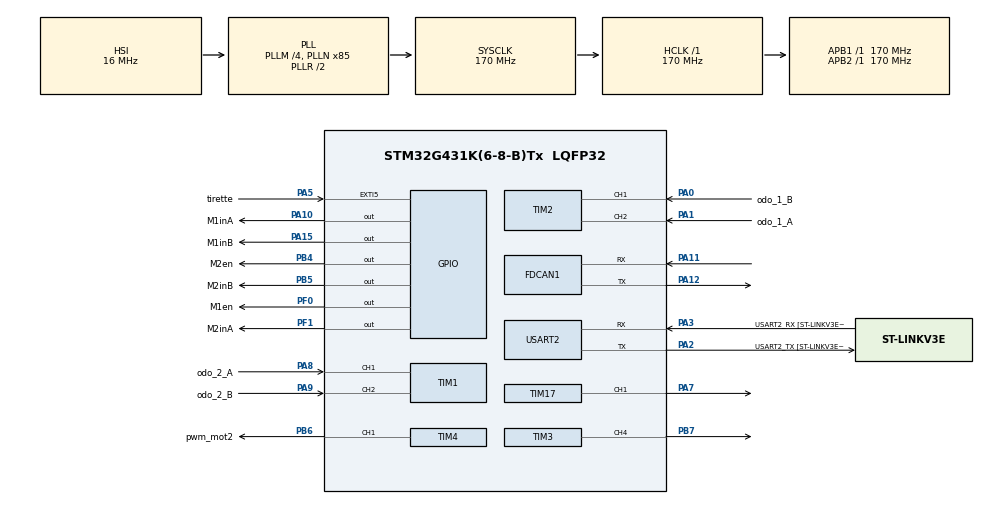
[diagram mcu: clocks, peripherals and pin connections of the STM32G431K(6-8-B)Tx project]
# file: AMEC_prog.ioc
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FDCAN1.CalculateBaudRateNominal=1000000
FDCAN1.CalculateTimeBitNominal=1000
FDCAN1.CalculateTimeQuantumNominal=100.0
FDCAN1.NominalPrescaler=17
FDCAN1.NominalTimeSeg1=7
FDCAN1.NominalTimeSeg2=2
Mcu.Family=STM32G4
Mcu.Name=STM32G431K(6-8-B)Tx
Mcu.Package=LQFP32
NVIC.FDCAN1_IT0_IRQn=true\:0\:0\:false\:false\:true\:true\:true\:true
NVIC.PriorityGroup=NVIC_PRIORITYGROUP_4
NVIC.TIM7_IRQn=true\:0\:0\:false\:false\:true\:true\:true\:true
PA0.GPIO_Label=odo_1_B
PA0.Signal=S_TIM2_CH1
PA1.GPIO_Label=odo_1_A
PA1.Signal=S_TIM2_CH2
PA10.GPIO_Label=M1inA
PA10.Signal=GPIO_Output
PA11.Mode=FDCAN_Activate
PA11.Signal=FDCAN1_RX
PA12.Mode=FDCAN_Activate
PA12.Signal=FDCAN1_TX
PA15.GPIO_Label=M1inB
PA15.Signal=GPIO_Output
PA2.GPIO_Label=USART2_TX [ST-LINKV3E_VCP_RX]
PA2.Mode=Asynchronous
PA2.Signal=USART2_TX
PA3.GPIO_Label=USART2_RX [ST-LINKV3E_VCP_TX]
PA3.Mode=Asynchronous
PA3.Signal=USART2_RX
PA5.GPIO_Label=tirette
PA5.GPIO_ModeDefaultEXTI=GPIO_MODE_IT_RISING_FALLING
PA5.GPIO_PuPd=GPIO_NOPULL
PA5.Signal=GPXTI5
PA7.Signal=S_TIM17_CH1
PA8.GPIO_Label=odo_2_A
PA8.Signal=S_TIM1_CH1
PA9.GPIO_Label=odo_2_B
PA9.Signal=S_TIM1_CH2
PB4.GPIO_Label=M2en
PB4.Signal=GPIO_Output
PB5.GPIO_Label=M2inB
PB5.Signal=GPIO_Output
PB6.GPIO_Label=pwm_mot2
PB6.Signal=S_TIM4_CH1
PB7.Signal=S_TIM3_CH4
PF0-OSC_IN.GPIO_Label=M1en
PF0-OSC_IN.PinState=GPIO_PIN_RESET
PF0-OSC_IN.Signal=GPIO_Output
PF1-OSC_OUT.GPIO_Label=M2inA
PF1-OSC_OUT.Signal=GPIO_Output
ProjectManager.HeapSize=0x200
ProjectManager.StackSize=0x400
ProjectManager.TargetToolchain=STM32CubeIDE
RCC.ADC12Freq_Value=170000000
RCC.AHBFreq_Value=170000000
RCC.APB1Freq_Value=170000000
RCC.APB1TimFreq_Value=170000000
RCC.APB2Freq_Value=170000000
RCC.APB2TimFreq_Value=170000000
RCC.CortexFreq_Value=170000000
RCC.EXTERNAL_CLOCK_VALUE=12288000
RCC.HCLKFreq_Value=170000000
RCC.HSE_VALUE=8000000
RCC.HSI48_VALUE=48000000
RCC.HSI_VALUE=16000000
RCC.LSE_VALUE=32768
RCC.PLLM=RCC_PLLM_DIV4
RCC.PLLN=85
RCC.SYSCLKFreq_VALUE=170000000
RCC.SYSCLKSource=RCC_SYSCLKSOURCE_PLLCLK
RCC.USBFreq_Value=170000000
RCC.VCOOutputFreq_Value=340000000
SH.S_TIM17_CH1.0=TIM17_CH1,PWM Generation1 CH1
SH.S_TIM1_CH1.0=TIM1_CH1,Encoder_Interface
SH.S_TIM1_CH2.0=TIM1_CH2,Encoder_Interface
SH.S_TIM2_CH1.0=TIM2_CH1,Encoder_Interface
SH.S_TIM2_CH2.0=TIM2_CH2,Encoder_Interface
SH.S_TIM3_CH4.0=TIM3_CH4,PWM Generation4 CH4
SH.S_TIM4_CH1.0=TIM4_CH1,PWM Generation1 CH1
TIM17.Channel=TIM_CHANNEL_1
TIM17.PeriodNoDither=65000
TIM17.Prescaler=51
TIM3.Channel-PWM\ Generation4\ CH4=TIM_CHANNEL_4
TIM3.PeriodNoDither=8500
TIM4.Channel-PWM\ Generation1\ CH1=TIM_CHANNEL_1
TIM4.PeriodNoDither=8500
TIM7.PeriodNoDither=10000-1
TIM7.Prescaler=170-1
TIM8.PeriodNoDither=1999
TIM8.Prescaler=169
USART2.VirtualMode-Asynchronous=VM_ASYNC
VP_SYS_VS_DBSignals.Mode=DisableDeadBatterySignals
VP_TIM17_VS_ClockSourceINT.Mode=Enable_Timer
VP_TIM3_VS_ClockSourceINT.Mode=Internal
VP_TIM4_VS_ClockSourceINT.Mode=Internal
VP_TIM7_VS_ClockSourceINT.Mode=Enable_Timer
VP_TIM8_VS_ClockSourceINT.Mode=Internal
board=NUCLEO-G431KB

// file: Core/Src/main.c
/* USER CODE BEGIN Header */
/*

 ******************************************************************************
 * Vertion Ultime N°2 \\\ WJFUTL ///
 *
 * -> CAN semi non fonctionnel
 * -> X & Y non fonctionnel
 *
 * -> vitesse progressive --- V3
 * -> MS : Master System --- V5
 * -> communication CAN --- V3
 * -> tructure AUTO --- V8
 * -> communication USART --- V2
 *
 * -> \\\ vertion global : N°12 ///
 ******************************************************************************
 */
/* USER CODE END Header */
#include "main.h"
#include "fdcan.h"
#include "tim.h"
#include "usart.h"
#include "gpio.h"

/* USER CODE BEGIN Includes */
#include <stdio.h>
#include "stdbool.h"      // obligatoire pour utiliser le type "bool"
#include "math.h"         // obligatoire pour utiliser "M_PI" "abs" "fabs"
/* USER CODE END Includes */

/* USER CODE BEGIN PTD */
typedef struct {
	float dist_roue_droite_mm;
	float dist_roue_gauche_mm;
	float distance_mm;
	float angle_rad;
	float x;
	float y;
} statut_odometrie_t;

typedef enum {
	STATE_stop, STATE_acc, STATE_dec, STATE_const, STATE_arriver
} StateType;
StateType currentState = STATE_stop;
/* USER CODE END PTD */

/* USER CODE BEGIN PD */
#define PERIMETRE_ROUE_MM (53*M_PI)                                   // modifier le 51.78 = diametre si nouvelle roues
#define TICK_PAR_TOUR 2048                                               // l'encodeur s'incrémente 2000 fois par tour
#define DIAMETRE_ENTRE_LES_ROUES 0.234                                   //en mm
#define PERIMETRE_CERCLE_ENTRE_LES_ROUES (DIAMETRE_ENTRE_LES_ROUES*M_PI) // perimetre en mm
#define TE 0.01                                                          // en s
#define COEF_ROUE_GAUCHE 0.980
#define ECART_ROUE_MM 230//11.25
// en ... jsp

volatile statut_odometrie_t statut_odometrie = { 0 }, precedent_statut = { .x = 155, .y = 155};

uint16_t tick_d_precedent = 32768;   // ou 32 440
uint16_t tick_g_precedent = 32768;

//********************************************
float acceleration = 1;
float deceleration = 1;
//********************************************

//********************************************
float vitesse = 0.0;    // en m/s
//********************************************

float erreur_droite = 0;
float erreur_gauche = 0;

uint32_t n_DEC = 0;
uint32_t n_ACC = 0;
uint32_t n_CONST = 0;

int32_t tick_g = 0;
int32_t tick_d = 0;

float NA = 0.0;
float ND = 0.0;
float NC = 0.0;

bool triangle = 0;

float erreur_precedante_droite = 0.0;
float erreur_precedante_gauche = 0.0;

float Delta_droite = 0.0;
float Delta_gauche = 0.0;

//********************************************
//110 -> val OK
//750 -> val OK
float coef_P_d = 110;
float coef_D_d = 750;
float coef_P_g = 110;
float coef_D_g = 750;
//********************************************

bool mouvement_rotation = 0;
bool mouvement_reculer = 0;
bool rotation = 0;

float coef_droit = 1.009;
float coef_gauche = 1.009;

int AV = 0;

bool tirette = true;

float floatValue_dist = 0.0;
int16_t uintValue_dist = 0;
float floatValue_angle = 0.0;
int16_t uintValue_angle = 0;

int envoi_fin_auto = 0;
bool tirette_precedente = 0;

float X_actuel = 0.0;
float Y_actuel = 0.0;
float Teta_actuel = 0.0;
float X_debut_m = 0.0;
float Y_debut_m = 0.0;
float Teta_debut_m = 0.0;

float dist_debut_mouvement = 0.0;

int16_t X_actuel_int = 0;
int16_t Y_actuel_int = 0;
int16_t Teta_actuel_int = 0;

float start_roue_droite_mm = 0;
float start_roue_gauche_mm = 0;

//float dist_roue_droite_total_mm = 0.0;
//float dist_roue_gauche_total_mm = 0.0;

/* USER CODE END PD */

void SystemClock_Config(void);

/* USER CODE BEGIN 0 */
/*
int __io_putchar(char c) {
	HAL_UART_Transmit(&huart2, (uint8_t*) &c, 1, HAL_MAX_DELAY);
	return c;
}
*/
//-------------------------------------------------------------------------------------------------------
//-------------------------------------------------------------------------------------------------------
//-------------------------------------------------------------------------------------------------------
float delta_dist_roue_droite_mm = 0, delta_dist_roue_gauche_mm = 0;

void update_statut_odometrie(int32_t tick_gauche, int32_t tick_droit) {

	statut_odometrie.dist_roue_droite_mm = coef_droit * (float)tick_droit * PERIMETRE_ROUE_MM / (float)TICK_PAR_TOUR;
	statut_odometrie.dist_roue_gauche_mm = coef_gauche * (float)tick_gauche * PERIMETRE_ROUE_MM / (float)TICK_PAR_TOUR;

	delta_dist_roue_droite_mm = statut_odometrie.dist_roue_droite_mm - precedent_statut.dist_roue_droite_mm;
	delta_dist_roue_gauche_mm = statut_odometrie.dist_roue_gauche_mm - precedent_statut.dist_roue_gauche_mm; //	return statut_actuel;

	float delta_distance_mm = 0.0;
	delta_distance_mm = (delta_dist_roue_droite_mm + delta_dist_roue_gauche_mm) / 2.0;

	// Calcul de l'angle de rotation en radians
	float angle_rad = (statut_odometrie.dist_roue_gauche_mm - statut_odometrie.dist_roue_droite_mm) / ECART_ROUE_MM;

	// Mise à jour de la distance et de l'angle
	statut_odometrie.angle_rad = angle_rad;
	statut_odometrie.x = precedent_statut.x + delta_distance_mm * cos(angle_rad);
	statut_odometrie.y = precedent_statut.y + delta_distance_mm * sin(angle_rad);

	precedent_statut = statut_odometrie;
}
//-------------------------------------------------------------------------------------------------------
//-------------------------------------------------------------------------------------------------------
//-------------------------------------------------------------------------------------------------------
void send_val_tirette_mise(void) {
	FDCAN_TxHeaderTypeDef header_tirette_mise = { 0 };

	header_tirette_mise.Identifier = 0x211;
	header_tirette_mise.IdType = FDCAN_STANDARD_ID;
	header_tirette_mise.TxFrameType = FDCAN_REMOTE_FRAME;
	header_tirette_mise.ErrorStateIndicator = FDCAN_ESI_ACTIVE;
	header_tirette_mise.FDFormat = FDCAN_FD_CAN;
	header_tirette_mise.MessageMarker = 0;
	HAL_FDCAN_AddMessageToTxFifoQ(&hfdcan1, &header_tirette_mise, 0);
}
//-------------------------------------------------------------------------------------------------------
//-------------------------------------------------------------------------------------------------------
//-------------------------------------------------------------------------------------------------------
void send_val_tirette_retiree(void) {
	FDCAN_TxHeaderTypeDef header_tirette_retiree = { 0 };

	header_tirette_retiree.Identifier = 0x212;
	header_tirette_retiree.IdType = FDCAN_STANDARD_ID;
	header_tirette_retiree.TxFrameType = FDCAN_REMOTE_FRAME;
	header_tirette_retiree.ErrorStateIndicator = FDCAN_ESI_ACTIVE;
	header_tirette_retiree.FDFormat = FDCAN_FD_CAN;
	header_tirette_retiree.MessageMarker = 0;
	HAL_FDCAN_AddMessageToTxFifoQ(&hfdcan1, &header_tirette_retiree, 0);
}
//-------------------------------------------------------------------------------------------------------
//-------------------------------------------------------------------------------------------------------
//-------------------------------------------------------------------------------------------------------
void send_arret_automate(void) {
	FDCAN_TxHeaderTypeDef header_arret = { 0 };

	header_arret.Identifier = 0x10;
	header_arret.IdType = FDCAN_STANDARD_ID;
	header_arret.TxFrameType = FDCAN_REMOTE_FRAME;
	header_arret.ErrorStateIndicator = FDCAN_ESI_ACTIVE;
	header_arret.FDFormat = FDCAN_FD_CAN;
	header_arret.MessageMarker = 0;
	HAL_FDCAN_AddMessageToTxFifoQ(&hfdcan1, &header_arret, 0);
}
//-------------------------------------------------------------------------------------------------------
//-------------------------------------------------------------------------------------------------------
//-------------------------------------------------------------------------------------------------------
void send_odometrie(void) {
	int16_t x = lroundf(statut_odometrie.x);
	int16_t y = lroundf(statut_odometrie.y);
	float angle = -statut_odometrie.angle_rad * 180.f / M_PI;

	while(angle > 180.0) angle -= 360.0;
	while(angle < -180.0) angle += 360.0;

	int16_t t = lroundf(angle * 100.0f);

	int16_t v = vitesse * 1000;
	uint8_t data_odo[8];

	data_odo[0] = x & 0xFF;
	data_odo[1] = (x >> 8) & 0xFF;
	data_odo[2] = y & 0xFF;
	data_odo[3] = (y >> 8) & 0xFF;
	data_odo[4] = t & 0xFF;
	data_odo[5] = (t >> 8) & 0xFF;
	data_odo[6] = v & 0xFF;
	data_odo[7] = (v >> 8) & 0xFF;

	FDCAN_TxHeaderTypeDef header_odo = { 0 };
	header_odo.Identifier = 0x150;
	header_odo.IdType = FDCAN_STANDARD_ID;
	header_odo.DataLength = 8;
	header_odo.TxFrameType = FDCAN_DATA_FRAME;
	header_odo.ErrorStateIndicator = FDCAN_ESI_ACTIVE;
	header_odo.FDFormat = FDCAN_FD_CAN;
	header_odo.MessageMarker = 0;
	HAL_FDCAN_AddMessageToTxFifoQ(&hfdcan1, &header_odo, data_odo);
}
/*
void send_odometrie(void)
{
	X_actuel_int = (int16_t)X_actuel + (int16_t)X_debut_m;
	Y_actuel_int = (int16_t)Y_actuel + (int16_t)Y_debut_m;
	Teta_actuel_int = (int16_t)Teta_actuel + (int16_t)Teta_debut_m;
	Teta_actuel_int *= 100;
	Teta_actuel_int %= 360;
	//printf("Valeur_X : %d\n", X_actuel_int);
	//printf("Valeur_Y : %d\n", Y_actuel_int);
	//printf("Valeur_Teta : %d\n", Teta_actuel_int);
	//printf("\n");
	uint8_t data_odo[6];
	data_odo[0] = (uint8_t)X_actuel_int;
	data_odo[1] = (uint8_t)(X_actuel_int >> 8);
	data_odo[2] = (uint8_t)Y_actuel_int;
	data_odo[3] = (uint8_t)(Y_actuel_int >> 8);
	data_odo[4] = (uint8_t)Teta_actuel_int;
	data_odo[5] = (uint8_t)(Teta_actuel_int >> 8);
	FDCAN_TxHeaderTypeDef  header_odo = {0};
	header_odo.Identifier = 0x150;
	header_odo.IdType = FDCAN_STANDARD_ID;
	header_odo.DataLength = 6;
	header_odo.TxFrameType = FDCAN_DATA_FRAME;
	header_odo.ErrorStateIndicator = FDCAN_ESI_ACTIVE;
	header_odo.FDFormat = FDCAN_FD_CAN;
	header_odo.MessageMarker = 0;
    HAL_FDCAN_AddMessageToTxFifoQ(&hfdcan1, &header_odo, data_odo);
}
*/
//-------------------------------------------------------------------------------------------------------
//-------------------------------------------------------------------------------------------------------
//-------------------------------------------------------------------------------------------------------
int32_t delta_tick(uint16_t tick, uint16_t tick_precedent, bool direction) {
	int16_t delta_tick;
	if (direction == 0 && (tick_precedent > tick)) {
		delta_tick = (tick - tick_precedent) - 65536;
	} else if (direction == 1 && (tick_precedent < tick)) {
		delta_tick = (tick - tick_precedent) + 65536;
	} else {
		delta_tick = tick - tick_precedent;
	}
	return delta_tick;
}
//-------------------------------------------------------------------------------------------------------
//-------------------------------------------------------------------------------------------------------
//-------------------------------------------------------------------------------------------------------
void asserv(float consigne_gauche_mm, float consigne_droite_mm) {
    //calculs_avant_asserv();

	erreur_gauche = consigne_gauche_mm - (statut_odometrie.dist_roue_gauche_mm - start_roue_gauche_mm);
	erreur_droite = consigne_droite_mm - (statut_odometrie.dist_roue_droite_mm - start_roue_droite_mm);

	Delta_droite = erreur_droite - erreur_precedante_droite;
	Delta_gauche = erreur_gauche - erreur_precedante_gauche;

	if (erreur_gauche > 0) {
		HAL_GPIO_WritePin(M2inA_GPIO_Port, M2inA_Pin, 0);
		HAL_GPIO_WritePin(M2inB_GPIO_Port, M2inB_Pin, 1);
	} else {
		HAL_GPIO_WritePin(M2inA_GPIO_Port, M2inA_Pin, 1);
		HAL_GPIO_WritePin(M2inB_GPIO_Port, M2inB_Pin, 0);
	}
	if (erreur_droite > 0) {
		HAL_GPIO_WritePin(M1inA_GPIO_Port, M1inA_Pin, 0);
		HAL_GPIO_WritePin(M1inB_GPIO_Port, M1inB_Pin, 1);
	} else {
		HAL_GPIO_WritePin(M1inA_GPIO_Port, M1inA_Pin, 1);
		HAL_GPIO_WritePin(M1inB_GPIO_Port, M1inB_Pin, 0);
	}
	__HAL_TIM_SET_COMPARE(&htim4, TIM_CHANNEL_1, fabs(coef_P_g * erreur_gauche + coef_D_g * Delta_gauche));
	__HAL_TIM_SET_COMPARE(&htim3, TIM_CHANNEL_4, fabs(coef_P_d * erreur_droite + coef_D_d * Delta_droite));

	erreur_precedante_droite = erreur_droite;
	erreur_precedante_gauche = erreur_gauche;
}
//-------------------------------------------------------------------------------------------------------
//-------------------------------------------------------------------------------------------------------
//-------------------------------------------------------------------------------------------------------
void declenchement_automate(float distence_demender, float vitesse_MAX, bool rotation) {
	// we just fuck-up the logic...
	if (distence_demender < 0) {
		mouvement_reculer = 1;
		distence_demender = -distence_demender;
	} else {
		mouvement_reculer = 0;
	}

	if (rotation) {
		distence_demender = PERIMETRE_CERCLE_ENTRE_LES_ROUES * (distence_demender / 360.0);
	}
	float deplacement_triangle = 0.5 * vitesse_MAX * vitesse_MAX / acceleration + 0.5 * vitesse_MAX * vitesse_MAX / deceleration;
	if (deplacement_triangle > distence_demender) {
		deplacement_triangle = distence_demender;
	}

	if (deplacement_triangle < distence_demender) {
		NA = vitesse_MAX / (acceleration * TE);
		ND = vitesse_MAX / (deceleration * TE);
		NC = (distence_demender - deplacement_triangle) / (vitesse_MAX * TE);
		triangle = 0;         // Trapeze
	} else {
		vitesse_MAX = sqrt(deplacement_triangle / ((1 / (2 * acceleration)) + (1 / (2 * deceleration))));
		NA = vitesse_MAX / (acceleration * TE);
		ND = vitesse_MAX / (deceleration * TE);
		NC = 0.0;
		triangle = 1;		// Triangle
	}
	mouvement_rotation = rotation;
	dist_debut_mouvement = 0.0;
	n_DEC = 0;
	n_ACC = 0;
	n_CONST = 0;
	vitesse = 0;

	start_roue_droite_mm = statut_odometrie.dist_roue_droite_mm;
	start_roue_gauche_mm = statut_odometrie.dist_roue_gauche_mm;

	currentState = STATE_acc;
}
//-------------------------------------------------------------------------------------------------------
//-------------------------------------------------------------------------------------------------------
//-------------------------------------------------------------------------------------------------------
void HAL_FDCAN_RxFifo0Callback(FDCAN_HandleTypeDef *hfdcan, uint32_t RxFifo0ITs) {
	FDCAN_RxHeaderTypeDef RxHeader;
	uint8_t RxData[8];
	HAL_FDCAN_GetRxMessage(hfdcan, FDCAN_RX_FIFO0, &RxHeader, RxData);
	if (RxHeader.Identifier == 0x101)//_________________________________________________avencer
			{
		uintValue_dist = RxData[0] | (RxData[1] << 8);
		floatValue_dist = (float) uintValue_dist;
		uintValue_angle = RxData[2] | (RxData[3] << 8);
		floatValue_angle = (float) uintValue_angle;
		rotation = 1;

		declenchement_automate(floatValue_angle / 10.0, 0.2, rotation);
	}
	if (RxHeader.Identifier == 0x005) //_______________________________________________________stop
	{
		if(currentState == STATE_acc || currentState == STATE_const){
			if(rotation == 1){ // si on est en rotation (donc avant une trsl)
				rotation = 0; // alors on met rotation à 0 pour pas qu'il déclenche la translation
				envoi_fin_auto = 1; // et on met ça a 1 pour que quand la rotation se finisse et qu'il l'incremente, il envoie un move end
			} else {
				currentState = STATE_dec;
			}
		}

		//declenchement_automate(0, 0, 0);
	}
	if (RxHeader.Identifier == 0x002) //_______________________________________________________arriver
	{
		currentState = STATE_arriver;
	}
	if (RxHeader.Identifier == 0x210) //_______________________________________________________tirette
			{
		tirette = HAL_GPIO_ReadPin(tirette_GPIO_Port, tirette_Pin);
		if (tirette == 1) {
			send_val_tirette_mise();
		} else {
			send_val_tirette_retiree();
		}
	}
}
//-------------------------------------------------------------------------------------------------------
//-------------------------------------------------------------------------------------------------------
//-------------------------------------------------------------------------------------------------------
uint8_t flag_periode_tim7 = 0;
uint8_t nbr_cycle_10 = 0;
void HAL_TIM_PeriodElapsedCallback(TIM_HandleTypeDef *htim) {
	if (htim->Instance == TIM7) {
		flag_periode_tim7 = 1;
		nbr_cycle_10++;
	}
}
//-------------------------------------------------------------------------------------------------------
//-------------------------------------------------------------------------------------------------------
//-------------------------------------------------------------------------------------------------------
void lever_drapeau(void) {
	__HAL_TIM_SET_COMPARE(&htim17, TIM_CHANNEL_1, 5950); // position fanion leve
}
void baisser_drapeau(void) {
	__HAL_TIM_SET_COMPARE(&htim17, TIM_CHANNEL_1, 3000); // position fanion baisser
}
//-------------------------------------------------------------------------------------------------------
//-------------------------------------------------------------------------------------------------------
//-------------------------------------------------------------------------------------------------------
/* USER CODE END 0 */

int main(void) {

	/* USER CODE BEGIN 1 */
	float consigne_gauche_m = 0.0;
	float consigne_droite_m = 0.0;

	/* USER CODE END 1 */

	/* MCU Configuration--------------------------------------------------------*/

	/* Reset of all peripherals, Initializes the Flash interface and the Systick. */
	HAL_Init();

	/* Configure the system clock */
	SystemClock_Config();

	/* Initialize all configured peripherals */
	MX_GPIO_Init();
	MX_TIM2_Init();
	MX_USART2_UART_Init();
	MX_TIM1_Init();
	MX_TIM4_Init();
	MX_TIM3_Init();
	MX_TIM8_Init();
	MX_FDCAN1_Init();
	MX_TIM7_Init();
	MX_TIM17_Init();
	/* USER CODE BEGIN 2 */

	HAL_TIM_Base_Start_IT(&htim7);

	HAL_FDCAN_Start(&hfdcan1);

	HAL_TIM_Encoder_Start(&htim2, TIM_CHANNEL_ALL);
	HAL_TIM_Encoder_Start(&htim1, TIM_CHANNEL_ALL);

	__HAL_TIM_SET_COUNTER(&htim2, 32768); // ou 32 440
	__HAL_TIM_SET_COUNTER(&htim1, 32768);

	HAL_TIM_PWM_Start(&htim3, TIM_CHANNEL_4);
	HAL_TIM_PWM_Start(&htim4, TIM_CHANNEL_1);
	HAL_TIM_PWM_Start(&htim17, TIM_CHANNEL_1); // servo sur PA7

	__HAL_TIM_SET_COMPARE(&htim3, TIM_CHANNEL_4, 0);
	__HAL_TIM_SET_COMPARE(&htim4, TIM_CHANNEL_1, 0);
	__HAL_TIM_SET_COMPARE(&htim17, TIM_CHANNEL_1, 3000); // position arret

	HAL_GPIO_WritePin(M1en_GPIO_Port, M1en_Pin, 1);
	HAL_GPIO_WritePin(M1inA_GPIO_Port, M1inA_Pin, 0);
	HAL_GPIO_WritePin(M1inB_GPIO_Port, M1inB_Pin, 0);

	HAL_GPIO_WritePin(M2en_GPIO_Port, M2en_Pin, 1);
	HAL_GPIO_WritePin(M2inA_GPIO_Port, M2inA_Pin, 0);
	HAL_GPIO_WritePin(M2inB_GPIO_Port, M2inB_Pin, 0);

	HAL_FDCAN_ActivateNotification(&hfdcan1, FDCAN_IT_RX_FIFO0_NEW_MESSAGE, FDCAN_RX_FIFO0);

	//declenchement_automate(45,0.2,1);  // (distence_demender, vitesse_MAX, rotation)
	/* USER CODE END 2 */

	/* Infinite loop */
	/* USER CODE BEGIN WHILE */
	while (1) {

		uint16_t cod_tick_g = __HAL_TIM_GET_COUNTER(&htim1);
		uint16_t cod_tick_d = __HAL_TIM_GET_COUNTER(&htim2);
		//uint16_t cod_tick_d = __HAL_TIM_GET_COUNTER(&htim2);

		bool direction_g = __HAL_TIM_IS_TIM_COUNTING_DOWN(&htim1);
		bool direction_d = __HAL_TIM_IS_TIM_COUNTING_DOWN(&htim2);

		int32_t delta_tick_d = delta_tick(cod_tick_d, tick_d_precedent, direction_d);
		int32_t delta_tick_g = delta_tick(cod_tick_g, tick_g_precedent, direction_g);

		tick_d_precedent = cod_tick_d;
		tick_g_precedent = cod_tick_g;

		tick_d += delta_tick_d;
		tick_g += delta_tick_g;

		update_statut_odometrie(tick_g, tick_d * COEF_ROUE_GAUCHE);

	  	//-------------------------------------------------------- MAJ tirette
		//--------------------------------------------------------
		tirette = HAL_GPIO_ReadPin(tirette_GPIO_Port, tirette_Pin);
		if (flag_periode_tim7 == 1 && tirette != tirette_precedente) {
			tirette_precedente = tirette;
			if (tirette == 1) {
				send_val_tirette_mise();
			} else {

				start_roue_droite_mm = statut_odometrie.dist_roue_droite_mm;
				start_roue_gauche_mm = statut_odometrie.dist_roue_gauche_mm;
				send_val_tirette_retiree();
			}
		}
		//-------------------------------------------------------- fin MAJ tirette
		//-------------------------------------------------------- envoie état tirette
		if (nbr_cycle_10 == 1) {
			send_odometrie();
			nbr_cycle_10 = 0;
		}
		//-------------------------------------------------------- fin envoie état tirette
		//--------------------------------------------------------
		if (flag_periode_tim7 == 1 && tirette == false){
			if (tirette == false) {
				switch (currentState) {
				//___________________________________________________________________________________________________________ARRIVER
				case STATE_arriver:
					__HAL_TIM_SET_COMPARE(&htim4, TIM_CHANNEL_1, 0);
					__HAL_TIM_SET_COMPARE(&htim3, TIM_CHANNEL_4, 0);
					HAL_Delay(1000);
					lever_drapeau();
					break;
				//___________________________________________________________________________________________________________STOP
				case STATE_stop:
					if (rotation == 1) {
						rotation = 0;
						declenchement_automate((floatValue_dist / 1000.0), 0.6, rotation);
					}
					else {
						asserv(0, 0);
						//lever_drapeau();
					}
					if (envoi_fin_auto == 2) {
						envoi_fin_auto = 0;
						send_arret_automate();
					}
					break;
					//___________________________________________________________________________________________________________DEC
				case STATE_dec:
					vitesse = vitesse - deceleration * TE;
					consigne_gauche_m = consigne_gauche_m + vitesse * TE;
					consigne_droite_m = consigne_droite_m + vitesse * TE;
					if (mouvement_rotation) {
						if (mouvement_reculer) {
							asserv(consigne_gauche_m * 1000,-consigne_droite_m * 1000);
							Teta_debut_m = -((consigne_droite_m + consigne_gauche_m) * 180.0) / PERIMETRE_CERCLE_ENTRE_LES_ROUES;
						}
						else {
							asserv(-consigne_gauche_m * 1000,consigne_droite_m * 1000);
							Teta_debut_m = ((consigne_droite_m + consigne_gauche_m) * 180.0) / PERIMETRE_CERCLE_ENTRE_LES_ROUES;
						}
					} else {
						if (mouvement_reculer) {
							asserv(-consigne_gauche_m * 1000, -consigne_droite_m * 1000);
							dist_debut_mouvement = (-consigne_gauche_m * 1000 + (-consigne_droite_m * 1000)) / 2;
							X_debut_m = dist_debut_mouvement * cos((Teta_actuel * M_PI) / 180.0);
							Y_debut_m = dist_debut_mouvement * sin((Teta_actuel * M_PI) / 180.0);
						}
						else {
							asserv(consigne_gauche_m * 1000, consigne_droite_m * 1000);
							dist_debut_mouvement = (consigne_gauche_m * 1000 + consigne_droite_m * 1000) / 2;
							X_debut_m = dist_debut_mouvement * cos((Teta_actuel * M_PI) / 180.0);
							Y_debut_m = dist_debut_mouvement * sin((Teta_actuel * M_PI) / 180.0);
						}
					}
					n_DEC++;
					if (n_DEC >= ND || vitesse <= 0) {
						X_actuel += X_debut_m;
						Y_actuel += Y_debut_m;
						Teta_actuel += Teta_debut_m;
						X_debut_m = 0.0;
						Y_debut_m = 0.0;
						Teta_debut_m = 0.0;

						start_roue_droite_mm = statut_odometrie.dist_roue_droite_mm;
						start_roue_gauche_mm = statut_odometrie.dist_roue_gauche_mm;

						consigne_gauche_m = 0;
						consigne_droite_m = 0;
						envoi_fin_auto++;
						currentState = STATE_stop;
					}
					break;
					//___________________________________________________________________________________________________________AVENCER
				case STATE_acc:
					baisser_drapeau();
					vitesse = vitesse + acceleration * TE;
					consigne_gauche_m = consigne_gauche_m + vitesse * TE;
					consigne_droite_m = consigne_droite_m + vitesse * TE;
					if (mouvement_rotation) {
						if (mouvement_reculer) {
							asserv(consigne_gauche_m * 1000, -consigne_droite_m * 1000);
							Teta_debut_m = -((consigne_droite_m + consigne_gauche_m) * 180.0) / PERIMETRE_CERCLE_ENTRE_LES_ROUES;
						}
						else {
							asserv(-consigne_gauche_m * 1000, consigne_droite_m * 1000);
							Teta_debut_m = ((consigne_droite_m + consigne_gauche_m) * 180.0) / PERIMETRE_CERCLE_ENTRE_LES_ROUES;
						}
					}
					else {
						if (mouvement_reculer) {
							asserv(-consigne_gauche_m * 1000, -consigne_droite_m * 1000);
							dist_debut_mouvement = (-consigne_gauche_m * 1000 + -consigne_droite_m * 1000) / 2;
							X_debut_m = dist_debut_mouvement * cos((Teta_actuel * M_PI) / 180.0);
							Y_debut_m = dist_debut_mouvement * sin((Teta_actuel * M_PI) / 180.0);
						}
						else {
							asserv(consigne_gauche_m * 1000, consigne_droite_m * 1000);
							dist_debut_mouvement = (consigne_gauche_m * 1000 + consigne_droite_m * 1000) / 2;
							X_debut_m = dist_debut_mouvement * cos((Teta_actuel * M_PI) / 180.0);
							Y_debut_m = dist_debut_mouvement * sin((Teta_actuel * M_PI) / 180.0);
						}
					}
					n_ACC++;
					if (n_ACC >= NA) {
						if (triangle)
							currentState = STATE_dec;
						else
							currentState = STATE_const;
					}
					break;
					//___________________________________________________________________________________________________________RECULER
				case STATE_const:
					consigne_gauche_m = consigne_gauche_m + vitesse * TE;
					consigne_droite_m = consigne_droite_m + vitesse * TE;
					if (mouvement_rotation) {
						if (mouvement_reculer) {
							asserv(consigne_gauche_m * 1000, -consigne_droite_m * 1000);
							Teta_debut_m = -((consigne_droite_m + consigne_gauche_m) * 180.0) / PERIMETRE_CERCLE_ENTRE_LES_ROUES;
						} else {
							asserv(-consigne_gauche_m * 1000, consigne_droite_m * 1000);
							Teta_debut_m = ((consigne_droite_m + consigne_gauche_m) * 180.0) / PERIMETRE_CERCLE_ENTRE_LES_ROUES;
						}
					} else {
						if (mouvement_reculer) {
							asserv(-consigne_gauche_m * 1000, -consigne_droite_m * 1000);
							dist_debut_mouvement = (-consigne_gauche_m * 1000 + (-consigne_droite_m * 1000)) / 2;
							X_debut_m = dist_debut_mouvement * cos((Teta_actuel * M_PI) / 180.0);
							Y_debut_m = dist_debut_mouvement * sin((Teta_actuel * M_PI) / 180.0);
						} else {
							asserv(consigne_gauche_m * 1000, consigne_droite_m * 1000);
							dist_debut_mouvement = (consigne_gauche_m * 1000 + consigne_droite_m * 1000) / 2;
							X_debut_m = dist_debut_mouvement * cos((Teta_actuel * M_PI) / 180.0);
							Y_debut_m = dist_debut_mouvement * sin((Teta_actuel * M_PI) / 180.0);
						}
					}
					n_CONST++;
					if (n_CONST >= NC) {
						currentState = STATE_dec;
					}
					break;
				}
			}
			flag_periode_tim7 = 0;
		}
		/* USER CODE END WHILE */

	}
}

void SystemClock_Config(void) {
	RCC_OscInitTypeDef RCC_OscInitStruct = { 0 };
	RCC_ClkInitTypeDef RCC_ClkInitStruct = { 0 };

	/** Configure the main internal regulator output voltage
	 */
	HAL_PWREx_ControlVoltageScaling(PWR_REGULATOR_VOLTAGE_SCALE1_BOOST);

	/** Initializes the RCC Oscillators according to the specified parameters
	 * in the RCC_OscInitTypeDef structure.
	 */
	RCC_OscInitStruct.OscillatorType = RCC_OSCILLATORTYPE_HSI;
	RCC_OscInitStruct.HSIState = RCC_HSI_ON;
	RCC_OscInitStruct.HSICalibrationValue = RCC_HSICALIBRATION_DEFAULT;
	RCC_OscInitStruct.PLL.PLLState = RCC_PLL_ON;
	RCC_OscInitStruct.PLL.PLLSource = RCC_PLLSOURCE_HSI;
	RCC_OscInitStruct.PLL.PLLM = RCC_PLLM_DIV4;
	RCC_OscInitStruct.PLL.PLLN = 85;
	RCC_OscInitStruct.PLL.PLLP = RCC_PLLP_DIV2;
	RCC_OscInitStruct.PLL.PLLQ = RCC_PLLQ_DIV2;
	RCC_OscInitStruct.PLL.PLLR = RCC_PLLR_DIV2;
	if (HAL_RCC_OscConfig(&RCC_OscInitStruct) != HAL_OK) {
		Error_Handler();
	}

	/** Initializes the CPU, AHB and APB buses clocks
	 */
	RCC_ClkInitStruct.ClockType = RCC_CLOCKTYPE_HCLK | RCC_CLOCKTYPE_SYSCLK
			| RCC_CLOCKTYPE_PCLK1 | RCC_CLOCKTYPE_PCLK2;
	RCC_ClkInitStruct.SYSCLKSource = RCC_SYSCLKSOURCE_PLLCLK;
	RCC_ClkInitStruct.AHBCLKDivider = RCC_SYSCLK_DIV1;
	RCC_ClkInitStruct.APB1CLKDivider = RCC_HCLK_DIV1;
	RCC_ClkInitStruct.APB2CLKDivider = RCC_HCLK_DIV1;

	if (HAL_RCC_ClockConfig(&RCC_ClkInitStruct, FLASH_LATENCY_4) != HAL_OK) {
		Error_Handler();
	}
}

/* USER CODE BEGIN 4 */
// evil floating point bit level hacking
// i  = 0x5f3759df - ( i >> 1 ); what the fuck ?
/* USER CODE END 4 */

void Error_Handler(void) {
	/* USER CODE BEGIN Error_Handler_Debug */
	/*9 janvier 2007*/
	/* User can add his own implementation to report the HAL error return state */
	__disable_irq();
	while (1) {
	}
	/* USER CODE END Error_Handler_Debug */
}
